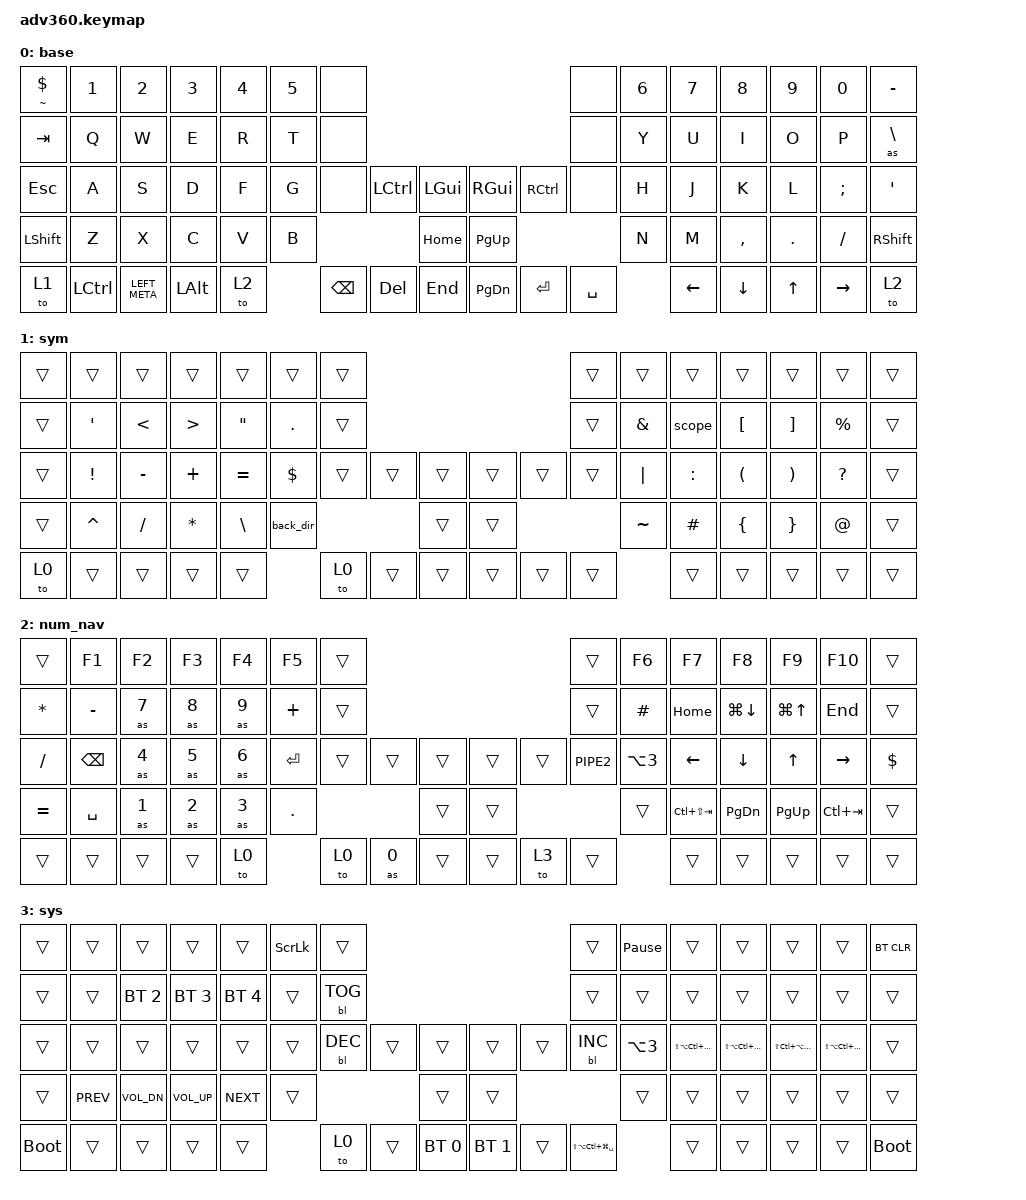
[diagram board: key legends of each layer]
#include <dt-bindings/zmk/stp.h>
#include <behaviors.dtsi>
#include <dt-bindings/zmk/backlight.h>
#include <dt-bindings/zmk/bt.h>
#include <dt-bindings/zmk/keys.h>

/ {
    behaviors {
        #include "macros.dtsi"
      #include "version.dtsi"
      #ifndef VERSION_MACRO

        macro_ver: macro_ver {
            compatible = "zmk,behavior-macro";
            label = "macro_version";
            #binding-cells = <0>;
            bindings = <&kp RET>;
        };

        #endif

        hm: homerow_mods {
            compatible = "zmk,behavior-hold-tap";
            label = "HOMEROW_MODS";
            #binding-cells = <2>;
            tapping-term-ms = <200>;
            quick_tap_ms = <175>;
            flavor = "tap-preferred";
            bindings = <&kp>, <&kp>;
        };

        hml: hml {
            compatible = "zmk,behavior-hold-tap";
            label = "HML";
            bindings = <&kp>, <&kp>;

            #binding-cells = <2>;
            tapping-term-ms = <280>;
            quick-tap-ms = <150>;
            global-quick-tap;
            flavor = "balanced";
            hold-trigger-key-positions = <7 8 9 10 11 12 13 21 22 23 24 25 26 27 38 39 40 41 42 43 44 45 54 55 56 57 58 59 71 72 73 74 75 35 36 37 38 52 53 65 66 67 68 69 70 71>;
            hold-trigger-on-release;
        };

        cpy_pst: cpy_pst {
            compatible = "zmk,behavior-tap-dance";
            label = "CPY_PST";
            #binding-cells = <0>;
            bindings = <&kp LG(C)>, <&kp LG(V)>;

            tapping-term-ms = <125>;
        };

        hmr: hmr {
            compatible = "zmk,behavior-hold-tap";
            label = "HMR";
            bindings = <&kp>, <&kp>;

            #binding-cells = <2>;
            tapping-term-ms = <280>;
            quick-tap-ms = <175>;
            global-quick-tap;
            flavor = "balanced";
            hold-trigger-key-positions = <0 1 2 3 4 5 6 14 15 16 17 18 19 20 28 29 30 31 32 33 34 35 36 37 38 46 47 48 49 50 51 52 53 60 61 62 63 64 65 66 67 68 69 70>;
            hold-trigger-on-release;
        };

        as_ht: autoshift_hold_tap {
            compatible = "zmk,behavior-hold-tap";
            label = "AUTOSHIFT_HOLD_TAP";
            bindings = <&shift>, <&kp>;

            #binding-cells = <2>;
            tapping-term-ms = <190>;
            flavor = "tap-preferred";
        };
    };

    combos {
        compatible = "zmk,combos";

        sleep {
            bindings = <&kt LA(LG(C_EJECT))>;
            key-positions = <0 13>;
        };
    };

    macros {
        shift: shift {
            compatible = "zmk,behavior-macro-one-param";
            #binding-cells = <1>;
            bindings =
                <&macro_press>,
                <&kp LEFT_SHIFT>,
                <&macro_tap>,
                <&macro_param_1to1 &kp MACRO_PLACEHOLDER>,
                <&macro_release>,
                <&kp LEFT_SHIFT>;

            label = "SHIFT";
        };

        as: as {
            compatible = "zmk,behavior-macro-one-param";
            #binding-cells = <1>;
            bindings =
                <&macro_press>,
                <&macro_param_1to1 &macro_param_1to2 &as_ht MACRO_PLACEHOLDER MACRO_PLACEHOLDER>,
                <&macro_pause_for_release>,
                <&macro_release>,
                <&macro_param_1to1 &macro_param_1to2 &as_ht MACRO_PLACEHOLDER MACRO_PLACEHOLDER>;

            label = "AS";
        };

        scope: scope {
            compatible = "zmk,behavior-macro";
            #binding-cells = <0>;
            bindings = <&kp COLON &kp COLON>;
            label = "SCOPE";
        };

        back_dir: back_dir {
            compatible = "zmk,behavior-macro";
            #binding-cells = <0>;
            bindings = <&kp COLON &kp COLON &kp FSLH>;
            label = "BACK_DIR";
        };
    };

    keymap {
        compatible = "zmk,keymap";

        base {
            bindings = <
&mt TILDE DOLLAR  &kp NUMBER_1      &kp NUMBER_2   &kp NUMBER_3  &kp NUMBER_4  &kp N5  &none                                                                                &none      &kp NUMBER_6  &kp N7    &kp N8          &kp N9        &kp N0         &kp MINUS
&kp TAB           &kp Q             &kp W          &kp E         &kp R         &kp T   &none                                                                                &none      &kp Y         &kp U     &kp I           &kp O         &kp P          &as BACKSLASH
&kp ESCAPE        &kp A             &kp S          &kp D         &kp F         &kp G   &none          &kp LEFT_CONTROL  &kp LEFT_GUI      &kp RIGHT_GUI  &kp RIGHT_CONTROL  &none      &kp H         &kp J     &kp K           &kp L         &kp SEMICOLON  &kp SQT
&kp LEFT_SHIFT    &kp Z             &kp X          &kp C         &kp V         &kp B                                    &kp HOME          &kp PAGE_UP                                  &kp N         &kp M     &kp COMMA       &kp PERIOD    &kp SLASH      &kp RIGHT_SHIFT
&to 1             &kp LEFT_CONTROL  &kp LEFT_META  &kp LEFT_ALT  &to 2                 &kp BACKSPACE  &kp DEL           &kp END           &kp PAGE_DOWN  &kp ENTER          &kp SPACE                &kp LEFT  &kp DOWN_ARROW  &kp UP_ARROW  &kp RIGHT      &to 2
            >;
        };

        sym {
            bindings = <
&trans  &trans            &trans         &trans            &trans             &trans      &trans                                      &trans  &trans     &trans     &trans                &trans                 &trans        &trans
&trans  &kp SINGLE_QUOTE  &kp LESS_THAN  &kp GREATER_THAN  &kp DOUBLE_QUOTES  &kp DOT     &trans                                      &trans  &kp AMPS   &scope     &kp LEFT_BRACKET      &kp RIGHT_BRACKET      &kp PERCENT   &trans
&trans  &kp EXCL          &kp MINUS      &kp PLUS          &kp EQUAL          &kp DOLLAR  &trans  &trans  &trans      &trans  &trans  &trans  &kp PIPE   &kp COLON  &kp LEFT_PARENTHESIS  &kp RIGHT_PARENTHESIS  &kp QUESTION  &trans
&trans  &kp CARET         &kp SLASH      &kp STAR          &kp BACKSLASH      &back_dir                   &trans      &trans                  &kp TILDE  &kp HASH   &kp LEFT_BRACE        &kp RIGHT_BRACE        &kp AT        &trans
&to 0   &trans            &trans         &trans            &trans                         &to 0   &trans  &trans      &trans  &trans  &trans             &trans     &trans                &trans                 &trans        &trans
            >;
        };

        num_nav {
            bindings = <
&trans        &kp F1         &kp F2  &kp F3  &kp F4  &kp F5      &trans                                      &trans     &kp F6      &kp F7           &kp F8        &kp F9      &kp F10      &trans
&kp ASTERISK  &kp MINUS      &as N7  &as N8  &as N9  &kp PLUS    &trans                                      &trans     &kp HASH    &kp HOME         &kp LG(DOWN)  &kp LG(UP)  &kp END      &trans
&kp SLASH     &kp BACKSPACE  &as N4  &as N5  &as N6  &kp ENTER   &trans  &trans  &trans      &trans  &trans  &kp PIPE2  &kp LA(N3)  &kp LEFT         &kp DOWN      &kp UP      &kp RIGHT    &kp DOLLAR
&kp EQUAL     &kp SPACE      &as N1  &as N2  &as N3  &kp PERIOD                  &trans      &trans                     &trans      &kp LC(LS(TAB))  &kp PG_DN     &kp PG_UP   &kp LC(TAB)  &trans
&trans        &trans         &trans  &trans  &to 0               &to 0   &as N0  &trans      &trans  &to 3   &trans                 &trans           &trans        &trans      &trans       &trans
            >;

            label = "num_nav";
        };

        sys {
            bindings = <
&trans       &trans      &trans        &trans        &trans        &kp SCROLLLOCK  &trans                                                      &trans                     &kp PAUSE_BREAK  &trans                    &trans                    &trans                  &trans                     &bt BT_CLR
&trans       &trans      &bt BT_SEL 2  &bt BT_SEL 3  &bt BT_SEL 4  &trans          &bl BL_TOG                                                  &trans                     &trans           &trans                    &trans                    &trans                  &trans                     &trans
&trans       &trans      &trans        &trans        &trans        &trans          &bl BL_DEC  &trans  &trans            &trans        &trans  &bl BL_INC                 &kp LA(N3)       &kp LS(LA(LC(LG(LEFT))))  &kp LS(LA(LC(LG(DOWN))))  &kp LS(LC(LA(LG(UP))))  &kp LS(LA(LC(LG(RIGHT))))  &trans
&trans       &kp C_PREV  &kp C_VOL_DN  &kp C_VOL_UP  &kp C_NEXT    &trans                              &trans            &trans                                           &trans           &trans                    &trans                    &trans                  &trans                     &trans
&bootloader  &trans      &trans        &trans        &trans                        &to 0       &trans  &bt BT_SEL 0      &bt BT_SEL 1  &trans  &kp LS(LA(LC(LG(SPACE))))                   &trans                    &trans                    &trans                  &trans                     &bootloader
            >;

            label = "sys";
        };
    };

    extra2 {
        display-name = "Purple";
        status = "reserved";
    };

    extra3 {
        display-name = "Cyan";
        status = "reserved";
    };

    extra4 {
        display-name = "Yellow";
        status = "reserved";
    };
};
